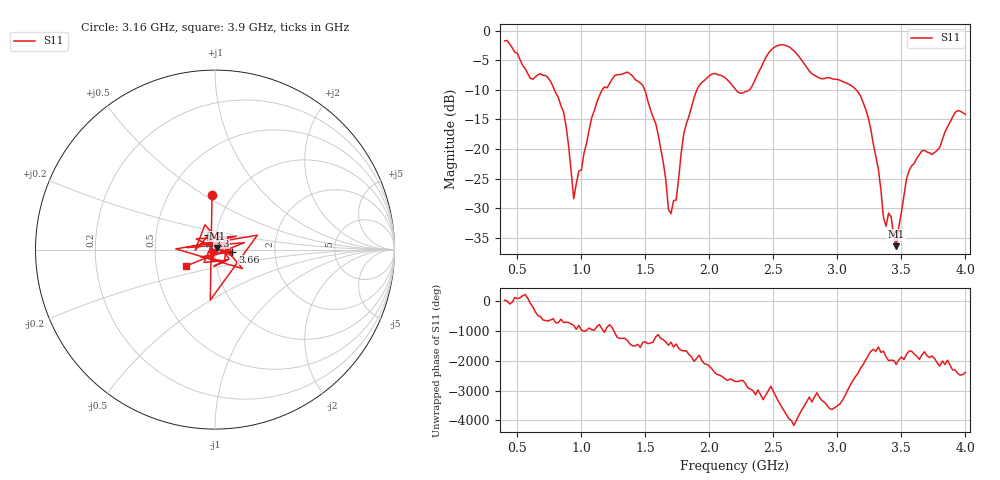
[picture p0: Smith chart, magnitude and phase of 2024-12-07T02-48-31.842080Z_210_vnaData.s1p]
!Created with skrf (http://scikit-rf.org).
# Hz S RI R 50.0
!freq ReS11 ImS11
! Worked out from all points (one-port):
!   181 points, 400 MHz to 4 GHz, reference 50 ohm
!   lowest |S11| = -36.4 dB at 3.46 GHz (marker M1), VSWR 1.03, Z = 51.2 + j0.896 ohm
!   |S11| at or under -10 dB: 789.8 MHz to 1.163 GHz (373.2 MHz wide, 38.2 % of centre); 1.494 GHz to 1.902 GHz (407.7 MHz wide, 24 % of centre); 3.148 GHz to end of sweep (the widest 3 of 4)
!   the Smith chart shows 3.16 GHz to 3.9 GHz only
!   S11 on the Smith chart (normalised r, x): 3.16 GHz: 0.80, +0.54; 3.3 GHz: 0.92, +0.15; 3.66 GHz: 1.21, -0.03; 3.9 GHz: 0.71, -0.14
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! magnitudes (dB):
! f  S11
! 400 MHz  -1.7
! 600 MHz  -8.0
! 740 MHz  -8.0
! 860 MHz  -13.7
! 940 MHz  -28.4
! 1.12 GHz  -12.1
! 1.3 GHz  -7.4
! 1.5 GHz  -10.3
! 1.6 GHz  -17.6
! 1.68 GHz  -30.2
! 1.76 GHz  -25.0
! 1.8 GHz  -17.4
! 1.92 GHz  -9.3
! 2.2 GHz  -9.8
! 2.32 GHz  -9.9
! 2.52 GHz  -2.6
! 2.66 GHz  -3.4
! 3.1 GHz  -9.2
! 3.16 GHz  -10.3
! 3.3 GHz  -21.2
! 3.36 GHz  -31.6
! 3.42 GHz  -31.5
! 3.46 GHz  -36.4
! 3.56 GHz  -23.6
! 3.66 GHz  -20.3
! 3.78 GHz  -20.2
! 3.9 GHz  -14.6
! 4 GHz  -14.1
